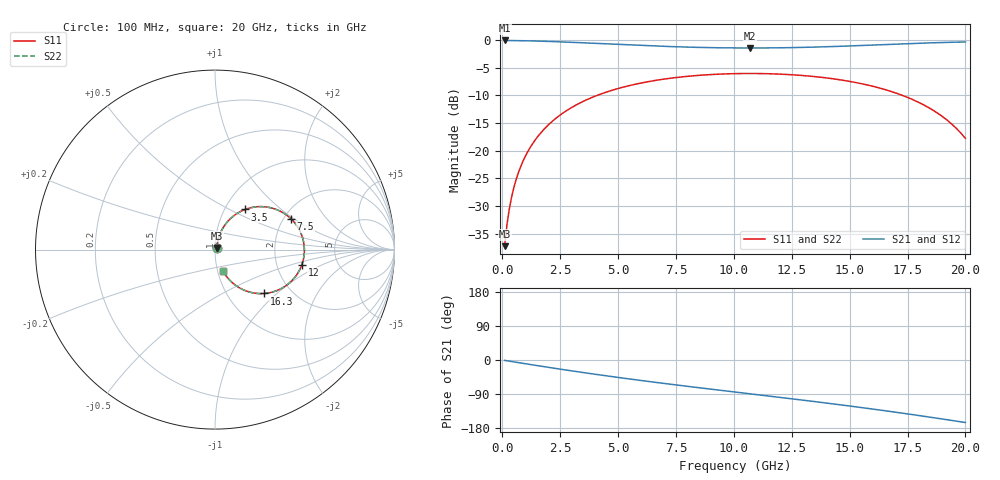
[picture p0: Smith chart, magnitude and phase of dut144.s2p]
! Touchstone file exported from HFSS 2026.1.0
!  File:  C:/ffzhzh/LocalFiles/Ansys_Project_Files/temp_train_TSV_RDL_144_1783051280_45820.aedt
!  Generated:  12:12:47 PM Jul  3, 2026
!  Design:  TSV_RDL
!  Project:  temp_train_TSV_RDL_144_1783051280_45820
! Variables:
!  h_bsmrdl = 2.81um
!  h_ox = 20um
!  h_rdl = 5um
!  h_sub = 81.4um
!  h_tmrdl = 5.96um
!  h_tsv = 81.4um
!  h_via = 3um
!  l_bsmrdl = 132.64um
!  l_sub = 2778.74um
!  l_tmrdl = 453.94um
!  m_sub = 200um
!  pitch = 54.92um
!  r_tsv = 4.62um
!  s_tmrdl = 10um
!  w_bsmrdl = 26.5um
!  w_sub = 500um
!  w_tmrdl = 28.52um
!  x_tsv_center1 = 468.2um
!  x_tsv_center2 = 627.34um
!  x_tsv_center3 = 1109.8um
!  x_tsv_center4 = 1268.94um
!  x_tsv_center5 = 1751.4um
!  x_tsv_center6 = 1910.54um
# GHz S MA R 50.000000
! Terminal data exported
! Port[1] = TM_RDL1_1_T1
! Port[2] = TM_RDL5_1_T1
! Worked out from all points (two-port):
!   200 points, 100 MHz to 20 GHz, reference 50 ohm
!   highest |S21| = -0.09 dB at 100 MHz (marker M1); lowest = -1.4 dB at 10.7 GHz (marker M2)
!   |S21| within 3 dB of the highest: start of sweep to end of sweep
!   lowest |S11| = -37.3 dB at 100 MHz (marker M3), VSWR 1.03, Z = 51 + j0.957 ohm
!   |S11| at or under -10 dB: start of sweep to 4.107 GHz; 17.27 GHz to end of sweep
!   |S22| runs from -37.3 to -6.1 dB; largest |S21 - S12| = 1.7e-14
!   S11 on the Smith chart (normalised r, x): 100 MHz: 1.02, +0.02; 3.5 GHz: 1.24, +0.60; 7.5 GHz: 2.19, +0.95; 12 GHz: 2.77, -0.62; 16.3 GHz: 1.48, -0.83; 20 GHz: 1.06, -0.26
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0.1  0.01369 43.3  0.9902 -1.0  0.9902 -1.0  0.01369 43.3
! Gamma 0 0 0 0
! Port Impedance 50 0 50 0
0.2  0.0213 59.1  0.9895 -2.0  0.9895 -2.0  0.0213 59.1
0.3  0.02949 65.8  0.989 -3.0  0.989 -3.0  0.02949 65.8
0.5  0.04642 71.2  0.9879 -5.0  0.9879 -5.0  0.04642 71.2
0.8  0.07223 72.8  0.9858 -7.9  0.9858 -7.9  0.07223 72.8
1.1  0.0979 72.0  0.983 -10.8  0.983 -10.8  0.0979 72.0
1.5  0.1314 69.5  0.9782 -14.7  0.9782 -14.7  0.1314 69.5
2.1  0.1795 64.9  0.9691 -20.4  0.9691 -20.4  0.1795 64.9
3.5  0.2791 53.2  0.9425 -33.2  0.9425 -33.2  0.2791 53.2
5.1  0.3691 40.2  0.9095 -46.9  0.9095 -46.9  0.3691 40.1
6.8  0.4373 27.1  0.8786 -60.4  0.8786 -60.4  0.4373 27.1
7.5  0.4576 21.9  0.8683 -65.8  0.8683 -65.8  0.4576 21.9
10.1  0.4967 3.4  0.8471 -84.9  0.8471 -84.9  0.4967 3.4
10.7  0.4981 -0.8  0.8463 -89.2  0.8463 -89.2  0.4981 -0.8
12  0.4913 -9.9  0.8498 -98.7  0.8498 -98.7  0.4913 -9.9
13.4  0.4687 -19.9  0.8614 -109.0  0.8614 -109.0  0.4687 -19.9
14.9  0.426 -31.0  0.8814 -120.6  0.8814 -120.6  0.426 -31.0
16.3  0.3675 -41.7  0.9048 -132.0  0.9048 -132.0  0.3675 -41.7
16.7  0.3474 -44.8  0.9119 -135.3  0.9119 -135.3  0.3474 -44.9
18.6  0.232 -59.8  0.9434 -152.0  0.9434 -152.0  0.232 -59.8
19.4  0.1746 -65.6  0.9538 -159.4  0.9538 -159.4  0.1746 -65.7
20  0.1291 -69.1  0.9596 -165.0  0.9596 -165.0  0.1291 -69.2
